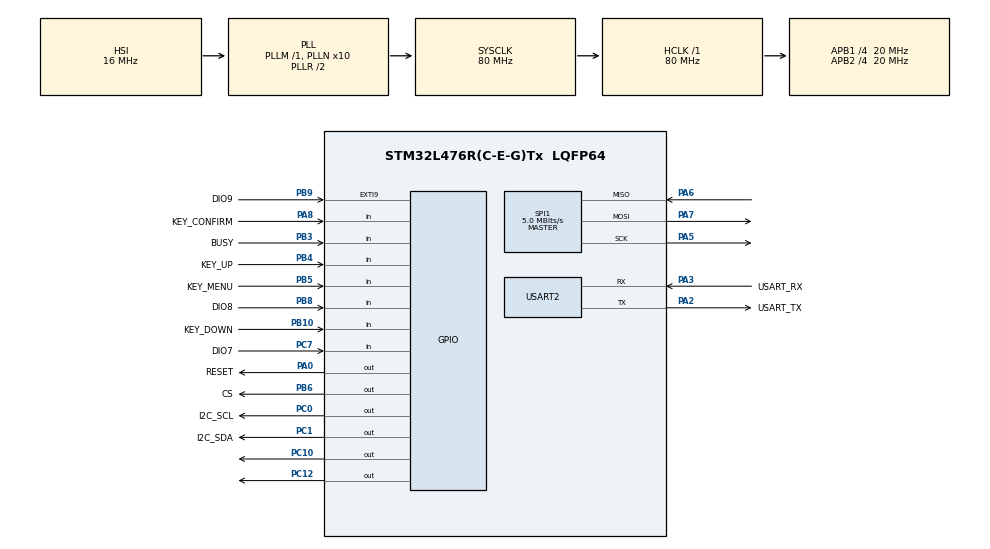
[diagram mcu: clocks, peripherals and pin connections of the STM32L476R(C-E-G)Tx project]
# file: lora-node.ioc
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FREERTOS.MEMORY_ALLOCATION=0
FREERTOS.Tasks01=defaultTask,24,128,StartDefaultTask,Default,NULL,Dynamic,NULL,NULL
FREERTOS.configTOTAL_HEAP_SIZE=8192
Mcu.Family=STM32L4
Mcu.Name=STM32L476R(C-E-G)Tx
Mcu.Package=LQFP64
NVIC.EXTI9_5_IRQn=true\:5\:0\:true\:false\:true\:true\:true\:true\:true
NVIC.PriorityGroup=NVIC_PRIORITYGROUP_4
NVIC.TIM2_IRQn=true\:15\:0\:false\:false\:true\:false\:false\:true\:true
NVIC.TIM4_IRQn=true\:5\:0\:false\:false\:true\:true\:true\:true\:true
NVIC.TimeBase=TIM2_IRQn
NVIC.TimeBaseIP=TIM2
PA0.GPIO_Label=RESET
PA0.GPIO_PuPd=GPIO_PULLDOWN
PA0.Signal=GPIO_Output
PA13\ (JTMS-SWDIO).GPIO_Label=TMS
PA13\ (JTMS-SWDIO).Mode=Serial_Wire
PA13\ (JTMS-SWDIO).Signal=SYS_JTMS-SWDIO
PA14\ (JTCK-SWCLK).GPIO_Label=TCK
PA14\ (JTCK-SWCLK).Mode=Serial_Wire
PA14\ (JTCK-SWCLK).Signal=SYS_JTCK-SWCLK
PA2.GPIO_Label=USART_TX
PA2.GPIO_Mode=GPIO_MODE_AF_PP
PA2.GPIO_PuPd=GPIO_NOPULL
PA2.GPIO_Speed=GPIO_SPEED_FREQ_VERY_HIGH
PA2.Mode=Asynchronous
PA2.Signal=USART2_TX
PA3.GPIO_Label=USART_RX
PA3.GPIO_Mode=GPIO_MODE_AF_PP
PA3.GPIO_PuPd=GPIO_NOPULL
PA3.GPIO_Speed=GPIO_SPEED_FREQ_VERY_HIGH
PA3.Mode=Asynchronous
PA3.Signal=USART2_RX
PA5.Mode=Full_Duplex_Master
PA5.Signal=SPI1_SCK
PA6.Mode=Full_Duplex_Master
PA6.Signal=SPI1_MISO
PA7.Mode=Full_Duplex_Master
PA7.Signal=SPI1_MOSI
PA8.GPIO_Label=KEY_CONFIRM
PA8.Signal=GPIO_Input
PB10.GPIO_Label=KEY_DOWN
PB10.Signal=GPIO_Input
PB3\ (JTDO-TRACESWO).GPIO_Label=BUSY
PB3\ (JTDO-TRACESWO).Signal=GPIO_Input
PB4\ (NJTRST).GPIO_Label=KEY_UP
PB4\ (NJTRST).Signal=GPIO_Input
PB5.GPIO_Label=KEY_MENU
PB5.Signal=GPIO_Input
PB6.GPIO_Label=CS
PB6.GPIO_PuPd=GPIO_PULLDOWN
PB6.GPIO_Speed=GPIO_SPEED_FREQ_MEDIUM
PB6.Signal=GPIO_Output
PB8.GPIO_Label=DIO8
PB8.Signal=GPIO_Input
PB9.GPIO_Label=DIO9
PB9.GPIO_PuPd=GPIO_PULLDOWN
PB9.Signal=GPXTI9
PC0.GPIO_Label=I2C_SCL
PC0.GPIO_PuPd=GPIO_PULLUP
PC0.GPIO_Speed=GPIO_SPEED_FREQ_VERY_HIGH
PC0.Signal=GPIO_Output
PC1.GPIO_Label=I2C_SDA
PC1.GPIO_PuPd=GPIO_PULLUP
PC1.GPIO_Speed=GPIO_SPEED_FREQ_VERY_HIGH
PC1.PinState=GPIO_PIN_RESET
PC1.Signal=GPIO_Output
PC10.GPIO_Speed=GPIO_SPEED_FREQ_VERY_HIGH
PC10.PinState=GPIO_PIN_SET
PC10.Signal=GPIO_Output
PC12.GPIO_Speed=GPIO_SPEED_FREQ_VERY_HIGH
PC12.Signal=GPIO_Output
PC14-OSC32_IN\ (PC14).Mode=LSE-External-Oscillator
PC14-OSC32_IN\ (PC14).Signal=RCC_OSC32_IN
PC15-OSC32_OUT\ (PC15).Mode=LSE-External-Oscillator
PC15-OSC32_OUT\ (PC15).Signal=RCC_OSC32_OUT
PC7.GPIO_Label=DIO7
PC7.GPIO_PuPd=GPIO_NOPULL
PC7.Signal=GPIO_Input
PH0-OSC_IN\ (PH0).Signal=RCC_OSC_IN
PH1-OSC_OUT\ (PH1).Signal=RCC_OSC_OUT
ProjectManager.HeapSize=0x200
ProjectManager.StackSize=0x400
ProjectManager.TargetToolchain=CMake
RCC.ADCFreq_Value=64000000
RCC.AHBFreq_Value=80000000
RCC.APB1CLKDivider=RCC_HCLK_DIV4
RCC.APB1Freq_Value=20000000
RCC.APB1TimFreq_Value=40000000
RCC.APB2CLKDivider=RCC_HCLK_DIV4
RCC.APB2Freq_Value=20000000
RCC.APB2TimCLKDivider=2
RCC.APB2TimFreq_Value=40000000
RCC.CortexFreq_Value=80000000
RCC.HCLKFreq_Value=80000000
RCC.HSE_VALUE=8000000
RCC.HSI_VALUE=16000000
RCC.MSI_VALUE=4000000
RCC.PLLN=10
RCC.PLLSourceVirtual=RCC_PLLSOURCE_HSI
RCC.PREFETCH_ENABLE=1
RCC.SYSCLKFreq_VALUE=80000000
RCC.SYSCLKSource=RCC_SYSCLKSOURCE_PLLCLK
RCC.USBFreq_Value=64000000
RCC.VCOOutputFreq_Value=160000000
SPI1.BaudRatePrescaler=SPI_BAUDRATEPRESCALER_4
SPI1.CalculateBaudRate=5.0 MBits/s
SPI1.DataSize=SPI_DATASIZE_8BIT
SPI1.Direction=SPI_DIRECTION_2LINES
SPI1.Mode=SPI_MODE_MASTER
SPI1.VirtualType=VM_MASTER
TIM4.Period=8227
TIM4.Prescaler=40-1
TIM5.Prescaler=40-1
USART2.VirtualMode-Asynchronous=VM_ASYNC
VP_FREERTOS_VS_CMSIS_V2.Mode=CMSIS_V2
VP_SYS_VS_tim2.Mode=TIM2
VP_TIM4_VS_ClockSourceINT.Mode=Internal
VP_TIM5_VS_ClockSourceINT.Mode=Internal
board=NUCLEO-L476RG

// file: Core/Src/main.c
/* USER CODE BEGIN Header */
/**
 ******************************************************************************
 * @file           : main.c
 * @brief          : Main program body
 ******************************************************************************
 * @attention
 *
 * Copyright (c) 2026 STMicroelectronics.
 * All rights reserved.
 *
 * This software is licensed under terms that can be found in the LICENSE file
 * in the root directory of this software component.
 * If no LICENSE file comes with this software, it is provided AS-IS.
 *
 ******************************************************************************
 */
/* USER CODE END Header */
#include "main.h"
#include "cmsis_os.h"

/* USER CODE BEGIN Includes */
#include "PhaseLoRa.h"
#include "stm32l4xx_hal_tim.h"
/* USER CODE END Includes */

SPI_HandleTypeDef hspi1;

TIM_HandleTypeDef htim4;
TIM_HandleTypeDef htim5;

UART_HandleTypeDef huart2;

/* Definitions for defaultTask */
osThreadId_t defaultTaskHandle;
const osThreadAttr_t defaultTask_attributes = {
  .name = "defaultTask",
  .stack_size = 128 * 4,
  .priority = (osPriority_t) osPriorityNormal,
};
/* USER CODE BEGIN PV */
TaskHandle_t radio_task_handle;
TaskHandle_t keyboard_task_handle;
TaskHandle_t disp_task_handle;
osThreadAttr_t radio_task_attributes = {
    .name = "radio_task",
    .stack_size = 1024,
    .priority = (osPriority_t)osPriorityNormal,
};
osThreadAttr_t keyboard_task_attributes = {
    .name = "keyboard_task",
    .stack_size = 1024,
    .priority = (osPriority_t)osPriorityNormal,
};
osThreadAttr_t disp_task_attributes = {
    .name = "disp_task",
    .stack_size = 1024,
    .priority = (osPriority_t)osPriorityNormal,
};

/* USER CODE END PV */

void SystemClock_Config(void);
static void MX_GPIO_Init(void);
static void MX_SPI1_Init(void);
static void MX_USART2_UART_Init(void);
static void MX_TIM5_Init(void);
static void MX_TIM4_Init(void);
void StartDefaultTask(void *argument);

/* USER CODE BEGIN PFP */
void radio_thread_entry(void *parameter);
void keyboard_thread_entry(void *parameter);
void disp_thread_entry(void *parameter);

/* USER CODE END PFP */

int main(void)
{

  /* MCU Configuration--------------------------------------------------------*/

  /* Reset of all peripherals, Initializes the Flash interface and the Systick. */
  HAL_Init();

  /* Configure the system clock */
  SystemClock_Config();

  /* Initialize all configured peripherals */
  MX_GPIO_Init();
  MX_SPI1_Init();
  MX_USART2_UART_Init();
  MX_TIM5_Init();
  MX_TIM4_Init();

  /* Init scheduler */
  osKernelInitialize();

  /* Create the thread(s) */
  /* creation of defaultTask */
  defaultTaskHandle = osThreadNew(StartDefaultTask, NULL, &defaultTask_attributes);

  /* USER CODE BEGIN RTOS_THREADS */
  /* add threads, ... */
  radio_task_handle = osThreadNew(radio_thread_entry, NULL, &radio_task_attributes);
  keyboard_task_handle = osThreadNew(keyboard_thread_entry, NULL, &keyboard_task_attributes);
  disp_task_handle = osThreadNew(disp_thread_entry, NULL, &disp_task_attributes);
  /* USER CODE END RTOS_THREADS */

  /* Start scheduler */
  osKernelStart();

  /* We should never get here as control is now taken by the scheduler */

  /* Infinite loop */
    while (1) {

    }
}

void SystemClock_Config(void)
{
  RCC_OscInitTypeDef RCC_OscInitStruct = {0};
  RCC_ClkInitTypeDef RCC_ClkInitStruct = {0};

  /** Configure the main internal regulator output voltage
  */
  if (HAL_PWREx_ControlVoltageScaling(PWR_REGULATOR_VOLTAGE_SCALE1) != HAL_OK)
  {
    Error_Handler();
  }

  /** Initializes the RCC Oscillators according to the specified parameters
  * in the RCC_OscInitTypeDef structure.
  */
  RCC_OscInitStruct.OscillatorType = RCC_OSCILLATORTYPE_HSI;
  RCC_OscInitStruct.HSIState = RCC_HSI_ON;
  RCC_OscInitStruct.HSICalibrationValue = RCC_HSICALIBRATION_DEFAULT;
  RCC_OscInitStruct.PLL.PLLState = RCC_PLL_ON;
  RCC_OscInitStruct.PLL.PLLSource = RCC_PLLSOURCE_HSI;
  RCC_OscInitStruct.PLL.PLLM = 1;
  RCC_OscInitStruct.PLL.PLLN = 10;
  RCC_OscInitStruct.PLL.PLLP = RCC_PLLP_DIV7;
  RCC_OscInitStruct.PLL.PLLQ = RCC_PLLQ_DIV2;
  RCC_OscInitStruct.PLL.PLLR = RCC_PLLR_DIV2;
  if (HAL_RCC_OscConfig(&RCC_OscInitStruct) != HAL_OK)
  {
    Error_Handler();
  }

  /** Initializes the CPU, AHB and APB buses clocks
  */
  RCC_ClkInitStruct.ClockType = RCC_CLOCKTYPE_HCLK|RCC_CLOCKTYPE_SYSCLK
                              |RCC_CLOCKTYPE_PCLK1|RCC_CLOCKTYPE_PCLK2;
  RCC_ClkInitStruct.SYSCLKSource = RCC_SYSCLKSOURCE_PLLCLK;
  RCC_ClkInitStruct.AHBCLKDivider = RCC_SYSCLK_DIV1;
  RCC_ClkInitStruct.APB1CLKDivider = RCC_HCLK_DIV4;
  RCC_ClkInitStruct.APB2CLKDivider = RCC_HCLK_DIV4;

  if (HAL_RCC_ClockConfig(&RCC_ClkInitStruct, FLASH_LATENCY_4) != HAL_OK)
  {
    Error_Handler();
  }
}

static void MX_SPI1_Init(void)
{

  /* SPI1 parameter configuration*/
  hspi1.Instance = SPI1;
  hspi1.Init.Mode = SPI_MODE_MASTER;
  hspi1.Init.Direction = SPI_DIRECTION_2LINES;
  hspi1.Init.DataSize = SPI_DATASIZE_8BIT;
  hspi1.Init.CLKPolarity = SPI_POLARITY_LOW;
  hspi1.Init.CLKPhase = SPI_PHASE_1EDGE;
  hspi1.Init.NSS = SPI_NSS_SOFT;
  hspi1.Init.BaudRatePrescaler = SPI_BAUDRATEPRESCALER_4;
  hspi1.Init.FirstBit = SPI_FIRSTBIT_MSB;
  hspi1.Init.TIMode = SPI_TIMODE_DISABLE;
  hspi1.Init.CRCCalculation = SPI_CRCCALCULATION_DISABLE;
  hspi1.Init.CRCPolynomial = 7;
  hspi1.Init.CRCLength = SPI_CRC_LENGTH_DATASIZE;
  hspi1.Init.NSSPMode = SPI_NSS_PULSE_ENABLE;
  if (HAL_SPI_Init(&hspi1) != HAL_OK)
  {
    Error_Handler();
  }

}

static void MX_TIM4_Init(void)
{

  TIM_ClockConfigTypeDef sClockSourceConfig = {0};
  TIM_MasterConfigTypeDef sMasterConfig = {0};

  htim4.Instance = TIM4;
  htim4.Init.Prescaler = 8-1;
  htim4.Init.CounterMode = TIM_COUNTERMODE_UP;
  htim4.Init.Period = 41128;
  htim4.Init.ClockDivision = TIM_CLOCKDIVISION_DIV1;
  htim4.Init.AutoReloadPreload = TIM_AUTORELOAD_PRELOAD_DISABLE;
  if (HAL_TIM_Base_Init(&htim4) != HAL_OK)
  {
    Error_Handler();
  }
  sClockSourceConfig.ClockSource = TIM_CLOCKSOURCE_INTERNAL;
  if (HAL_TIM_ConfigClockSource(&htim4, &sClockSourceConfig) != HAL_OK)
  {
    Error_Handler();
  }
  sMasterConfig.MasterOutputTrigger = TIM_TRGO_RESET;
  sMasterConfig.MasterSlaveMode = TIM_MASTERSLAVEMODE_DISABLE;
  if (HAL_TIMEx_MasterConfigSynchronization(&htim4, &sMasterConfig) != HAL_OK)
  {
    Error_Handler();
  }

}

static void MX_TIM5_Init(void)
{

  TIM_ClockConfigTypeDef sClockSourceConfig = {0};
  TIM_MasterConfigTypeDef sMasterConfig = {0};

  htim5.Instance = TIM5;
  htim5.Init.Prescaler = 40-1;
  htim5.Init.CounterMode = TIM_COUNTERMODE_UP;
  htim5.Init.Period = 4294967295;
  htim5.Init.ClockDivision = TIM_CLOCKDIVISION_DIV1;
  htim5.Init.AutoReloadPreload = TIM_AUTORELOAD_PRELOAD_DISABLE;
  if (HAL_TIM_Base_Init(&htim5) != HAL_OK)
  {
    Error_Handler();
  }
  sClockSourceConfig.ClockSource = TIM_CLOCKSOURCE_INTERNAL;
  if (HAL_TIM_ConfigClockSource(&htim5, &sClockSourceConfig) != HAL_OK)
  {
    Error_Handler();
  }
  sMasterConfig.MasterOutputTrigger = TIM_TRGO_RESET;
  sMasterConfig.MasterSlaveMode = TIM_MASTERSLAVEMODE_DISABLE;
  if (HAL_TIMEx_MasterConfigSynchronization(&htim5, &sMasterConfig) != HAL_OK)
  {
    Error_Handler();
  }
  /* USER CODE BEGIN TIM5_Init 2 */
  HAL_TIM_Base_Start(&htim5);
  /* USER CODE END TIM5_Init 2 */

}

static void MX_USART2_UART_Init(void)
{

  huart2.Instance = USART2;
  huart2.Init.BaudRate = 115200;
  huart2.Init.WordLength = UART_WORDLENGTH_8B;
  huart2.Init.StopBits = UART_STOPBITS_1;
  huart2.Init.Parity = UART_PARITY_NONE;
  huart2.Init.Mode = UART_MODE_TX_RX;
  huart2.Init.HwFlowCtl = UART_HWCONTROL_NONE;
  huart2.Init.OverSampling = UART_OVERSAMPLING_16;
  huart2.Init.OneBitSampling = UART_ONE_BIT_SAMPLE_DISABLE;
  huart2.AdvancedInit.AdvFeatureInit = UART_ADVFEATURE_NO_INIT;
  if (HAL_UART_Init(&huart2) != HAL_OK)
  {
    Error_Handler();
  }

}

static void MX_GPIO_Init(void)
{
  GPIO_InitTypeDef GPIO_InitStruct = {0};

  /* GPIO Ports Clock Enable */
  __HAL_RCC_GPIOC_CLK_ENABLE();
  __HAL_RCC_GPIOH_CLK_ENABLE();
  __HAL_RCC_GPIOA_CLK_ENABLE();
  __HAL_RCC_GPIOB_CLK_ENABLE();

  /*Configure GPIO pin Output Level */
  HAL_GPIO_WritePin(GPIOC, I2C_SCL_Pin|I2C_SDA_Pin|GPIO_PIN_12, GPIO_PIN_RESET);

  /*Configure GPIO pin Output Level */
  HAL_GPIO_WritePin(RESET_GPIO_Port, RESET_Pin, GPIO_PIN_RESET);

  /*Configure GPIO pin Output Level */
  HAL_GPIO_WritePin(GPIOC, GPIO_PIN_10, GPIO_PIN_SET);

  /*Configure GPIO pin Output Level */
  HAL_GPIO_WritePin(CS_GPIO_Port, CS_Pin, GPIO_PIN_RESET);

  /*Configure GPIO pins : I2C_SCL_Pin I2C_SDA_Pin */
  GPIO_InitStruct.Pin = I2C_SCL_Pin|I2C_SDA_Pin;
  GPIO_InitStruct.Mode = GPIO_MODE_OUTPUT_PP;
  GPIO_InitStruct.Pull = GPIO_PULLUP;
  GPIO_InitStruct.Speed = GPIO_SPEED_FREQ_VERY_HIGH;
  HAL_GPIO_Init(GPIOC, &GPIO_InitStruct);

  /*Configure GPIO pin : RESET_Pin */
  GPIO_InitStruct.Pin = RESET_Pin;
  GPIO_InitStruct.Mode = GPIO_MODE_OUTPUT_PP;
  GPIO_InitStruct.Pull = GPIO_PULLDOWN;
  GPIO_InitStruct.Speed = GPIO_SPEED_FREQ_LOW;
  HAL_GPIO_Init(RESET_GPIO_Port, &GPIO_InitStruct);

  /*Configure GPIO pins : KEY_DOWN_Pin BUSY_Pin KEY_UP_Pin KEY_MENU_Pin
                           DIO8_Pin */
  GPIO_InitStruct.Pin = KEY_DOWN_Pin|BUSY_Pin|KEY_UP_Pin|KEY_MENU_Pin
                          |DIO8_Pin;
  GPIO_InitStruct.Mode = GPIO_MODE_INPUT;
  GPIO_InitStruct.Pull = GPIO_NOPULL;
  HAL_GPIO_Init(GPIOB, &GPIO_InitStruct);

  /*Configure GPIO pin : DIO7_Pin */
  GPIO_InitStruct.Pin = DIO7_Pin;
  GPIO_InitStruct.Mode = GPIO_MODE_INPUT;
  GPIO_InitStruct.Pull = GPIO_NOPULL;
  HAL_GPIO_Init(DIO7_GPIO_Port, &GPIO_InitStruct);

  /*Configure GPIO pin : KEY_CONFIRM_Pin */
  GPIO_InitStruct.Pin = KEY_CONFIRM_Pin;
  GPIO_InitStruct.Mode = GPIO_MODE_INPUT;
  GPIO_InitStruct.Pull = GPIO_NOPULL;
  HAL_GPIO_Init(KEY_CONFIRM_GPIO_Port, &GPIO_InitStruct);

  /*Configure GPIO pins : PC10 PC12 */
  GPIO_InitStruct.Pin = GPIO_PIN_10|GPIO_PIN_12;
  GPIO_InitStruct.Mode = GPIO_MODE_OUTPUT_PP;
  GPIO_InitStruct.Pull = GPIO_NOPULL;
  GPIO_InitStruct.Speed = GPIO_SPEED_FREQ_VERY_HIGH;
  HAL_GPIO_Init(GPIOC, &GPIO_InitStruct);

  /*Configure GPIO pin : CS_Pin */
  GPIO_InitStruct.Pin = CS_Pin;
  GPIO_InitStruct.Mode = GPIO_MODE_OUTPUT_PP;
  GPIO_InitStruct.Pull = GPIO_PULLDOWN;
  GPIO_InitStruct.Speed = GPIO_SPEED_FREQ_MEDIUM;
  HAL_GPIO_Init(CS_GPIO_Port, &GPIO_InitStruct);

  /*Configure GPIO pin : DIO9_Pin */
  GPIO_InitStruct.Pin = DIO9_Pin;
  GPIO_InitStruct.Mode = GPIO_MODE_IT_RISING;
  GPIO_InitStruct.Pull = GPIO_PULLDOWN;
  HAL_GPIO_Init(DIO9_GPIO_Port, &GPIO_InitStruct);

  /* EXTI interrupt init*/
  HAL_NVIC_SetPriority(EXTI9_5_IRQn, 5, 0);
  HAL_NVIC_EnableIRQ(EXTI9_5_IRQn);

}

/* USER CODE BEGIN 4 */
#ifdef __GNUC__
#define PUTCHAR_PROTOTYPE int __io_putchar(int ch)
#else
#define PUTCHAR_PROTOTYPE int fputc(int ch, FILE *f)
#endif

PUTCHAR_PROTOTYPE
{
	if (ch == '\n') {
		char cr = '\r';
		HAL_UART_Transmit(&huart2, (uint8_t *)&cr, 1, HAL_MAX_DELAY);
	}
	HAL_UART_Transmit(&huart2, (uint8_t *)&ch, 1, HAL_MAX_DELAY);
	return ch;
}

#define TIM5_CNT_ADDR (0x40000C24)
void Delayus_Using_TIM(uint32_t us) {
  uint32_t end_time = *(volatile uint32_t *)TIM5_CNT_ADDR + us;
  while (*(volatile uint32_t *)TIM5_CNT_ADDR < end_time) {
    // wait
  }
}
/* USER CODE END 4 */

void StartDefaultTask(void *argument)
{
  /* USER CODE BEGIN 5 */
  /* Infinite loop */
  for(;;)
  {
    osDelay(1000);
  }
  /* USER CODE END 5 */
}

void HAL_TIM_PeriodElapsedCallback(TIM_HandleTypeDef *htim)
{
  if (htim->Instance == TIM2)
  {
    HAL_IncTick();
  }
  /* USER CODE BEGIN Callback 1 */
  // if (htim->Instance == TIM4) {
  //   Antenna_Phase_Flip();
  // }

  /* USER CODE END Callback 1 */
}

void Error_Handler(void)
{
  /* USER CODE BEGIN Error_Handler_Debug */
    /* User can add his own implementation to report the HAL error return state
     */
    __disable_irq();
    while (1) {
    }
  /* USER CODE END Error_Handler_Debug */
}
#ifdef USE_FULL_ASSERT
/**
  * @brief  Reports the name of the source file and the source line number
  *         where the assert_param error has occurred.
  * @param  file: pointer to the source file name
  * @param  line: assert_param error line source number
  * @retval None
  */
void assert_failed(uint8_t *file, uint32_t line)
{
  /* USER CODE BEGIN 6 */
    /* User can add his own implementation to report the file name and line
       number, ex: printf("Wrong parameters value: file %s on line %d\r\n",
       file, line) */
  /* USER CODE END 6 */
}
#endif /* USE_FULL_ASSERT */
